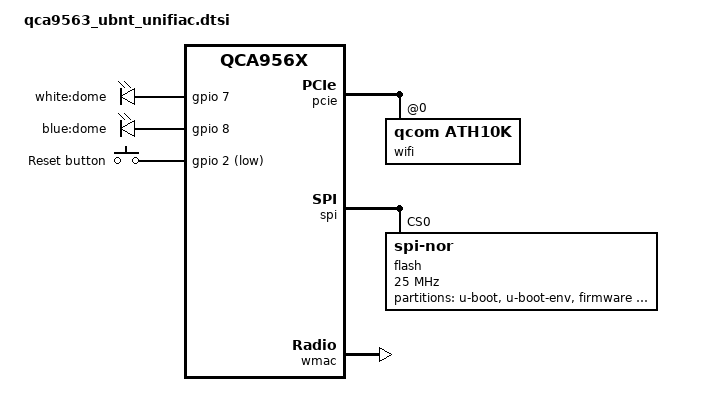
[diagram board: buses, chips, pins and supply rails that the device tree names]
// SPDX-License-Identifier: GPL-2.0-or-later OR MIT

#include "qca956x.dtsi"

#include <dt-bindings/gpio/gpio.h>
#include <dt-bindings/input/input.h>

/ {
	aliases {
		led-boot = &led_white;
		led-failsafe = &led_white;
		led-running = &led_blue;
		led-upgrade = &led_blue;
	};

	leds: leds {
		compatible = "gpio-leds";

		led_white: led_white {
			label = "white:dome";
			gpios = <&gpio 7 GPIO_ACTIVE_HIGH>;
		};

		led_blue: led_blue {
			label = "blue:dome";
			gpios = <&gpio 8 GPIO_ACTIVE_HIGH>;
		};
	};

	keys {
		compatible = "gpio-keys";

		reset {
			label = "Reset button";
			linux,code = <KEY_RESTART>;
			gpios = <&gpio 2 GPIO_ACTIVE_LOW>;
			debounce-interval = <60>;
		};
	};
};

&pcie {
	status = "okay";

	wifi@0,0 {
		compatible = "qcom,ath10k";
		reg = <0x0000 0 0 0 0>;
		nvmem-cells = <&cal_art_5000>;
		nvmem-cell-names = "calibration";
	};
};

&spi {
	status = "okay";

	flash@0 {
		compatible = "jedec,spi-nor";
		reg = <0>;
		spi-max-frequency = <25000000>;

		partitions {
			compatible = "fixed-partitions";
			#address-cells = <1>;
			#size-cells = <1>;

			partition@0 {
				label = "u-boot";
				reg = <0x000000 0x060000>;
				read-only;
			};

			partition@60000 {
				label = "u-boot-env";
				reg = <0x060000 0x010000>;
				read-only;
			};

			partition@70000 {
				/* Combine kernel0 & kernel1 */
				label = "firmware";
				reg = <0x070000 0xf20000>;
				compatible = "denx,uimage";
			};

			partition@f90000 {
				label = "bs";
				reg = <0xf90000 0x020000>;
			};

			partition@fb0000 {
				label = "cfg";
				reg = <0xfb0000 0x040000>;
				read-only;
			};

			partition@ff0000 {
				label = "art";
				reg = <0xff0000 0x010000>;
				read-only;

				nvmem-layout {
					compatible = "fixed-layout";
					#address-cells = <1>;
					#size-cells = <1>;

					macaddr_art_0: macaddr@0 {
						reg = <0x0 0x6>;
					};

					cal_art_1000: calibration@1000 {
						reg = <0x1000 0x440>;
					};

					cal_art_5000: calibration@5000 {
						reg = <0x5000 0x844>;
					};
				};
			};
		};
	};
};

&wmac {
	status = "okay";

	nvmem-cells = <&cal_art_1000>;
	nvmem-cell-names = "calibration";
};
